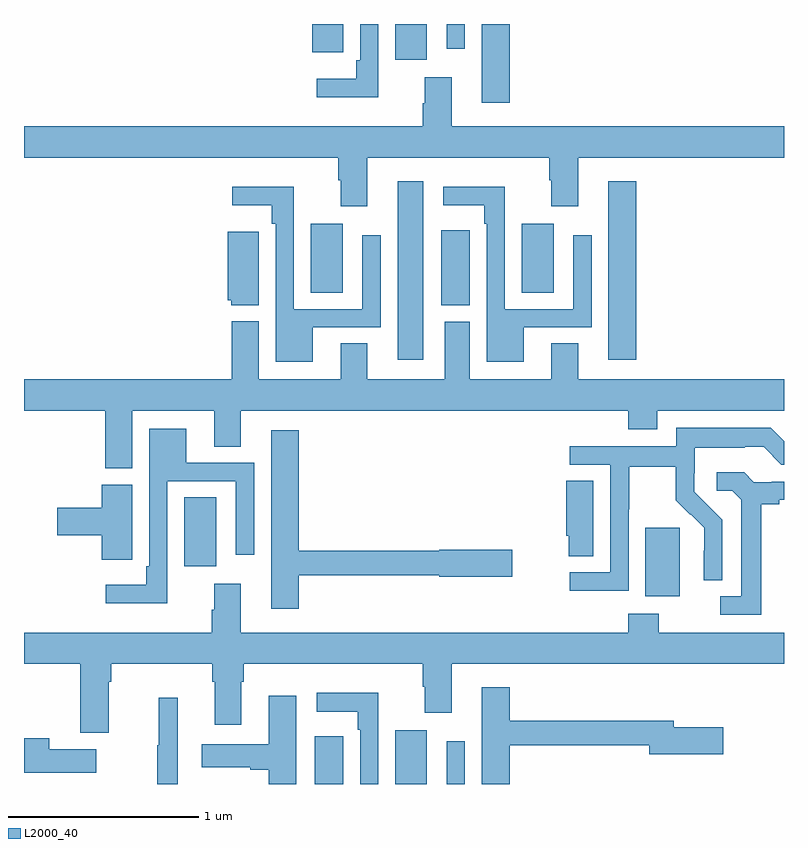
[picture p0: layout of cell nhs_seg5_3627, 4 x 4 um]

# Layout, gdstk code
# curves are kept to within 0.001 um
import gdstk
lib = gdstk.Library(unit=1e-6, precision=1e-09)
def R(c, l, rs):  # rectangles x0, y0, x1, y1
    for r in rs: c.add(gdstk.rectangle(r[:2], r[2:], *l))
def P(c, l, *ps):  # polygons
    for p in ps: c.add(gdstk.Polygon(p, *l))
L2000_40 = (2000, 40)

nhs_seg5_3627 = lib.new_cell('nhs_seg5_3627')
R(nhs_seg5_3627, L2000_40, [(326.531,850.799,326.68,851.05), (326.954,850.799,327.121,851.083), (327.225,850.799,327.321,851.023), (328.271,851.786,328.45,852.147), (325.844,851.946,326.011,852.308), (326.966,853.032,327.1,853.972), (328.076,853.032,328.223,853.972), (327.197,853.318,327.346,853.714), (326.51,853.384,326.677,853.747), (327.62,853.384,327.787,853.747), (327.41,854.385,327.557,854.799), (326.954,854.61,327.121,854.799), (326.516,854.651,326.68,854.799), (327.225,854.67,327.321,854.799)])
P(nhs_seg5_3627, L2000_40, [(326.865,854.799),(326.769,854.799),(326.769,854.608),(326.749,854.608),(326.749,854.512),(326.541,854.512),(326.541,854.414),(326.865,854.414)],
  [(326.806,854.096),(327.764,854.096),(327.764,853.976),(327.776,853.976),(327.776,853.839),(327.916,853.839),(327.916,854.096),(329,854.096),(329,854.26),(327.25,854.26),(327.25,854.518),(327.11,854.518),(327.11,854.381),(327.098,854.381),(327.098,854.26),(325,854.26),(325,854.096),(326.654,854.096),(326.654,853.976),(326.666,853.976),(326.666,853.839),(326.806,853.839)],
  [(327.631,853.203),(327.987,853.203),(327.987,853.687),(327.891,853.687),(327.891,853.299),(327.531,853.299),(327.531,853.942),(327.207,853.942),(327.207,853.844),(327.423,853.844),(327.423,853.748),(327.435,853.748),(327.435,853.022),(327.631,853.022)],
  [(326.521,853.203),(326.877,853.203),(326.877,853.687),(326.781,853.687),(326.781,853.299),(326.421,853.299),(326.421,853.942),(326.097,853.942),(326.097,853.844),(326.305,853.844),(326.305,853.748),(326.325,853.748),(326.325,853.022),(326.521,853.022)],
  [(326.236,853.705),(326.072,853.705),(326.072,853.344),(326.091,853.344),(326.091,853.319),(326.236,853.319)],
  [(325.57,852.764),(326,852.764),(326,852.574),(326.14,852.574),(326.14,852.764),(328.181,852.764),(328.181,852.665),(328.333,852.665),(328.333,852.764),(329,852.764),(329,852.928),(327.916,852.928),(327.916,853.118),(327.776,853.118),(327.776,852.928),(327.346,852.928),(327.346,853.233),(327.215,853.233),(327.215,852.928),(326.806,852.928),(326.806,853.118),(326.666,853.118),(326.666,852.928),(326.236,852.928),(326.236,853.234),(326.093,853.234),(326.093,852.928),(325,852.928),(325,852.764),(325.427,852.764),(325.427,852.46),(325.57,852.46)],
  [(328.182,852.244),(328.185,852.244),(328.185,852.468),(328.429,852.468),(328.429,852.293),(328.506,852.216),(328.509,852.219),(328.58,852.149),(328.58,852.026),(328.578,852.026),(328.578,851.872),(328.674,851.872),(328.674,852.19),(328.528,852.338),(328.528,852.435),(328.53,852.435),(328.53,852.569),(328.793,852.569),(328.793,852.573),(328.893,852.573),(328.986,852.48),(329,852.48),(329,852.604),(328.931,852.673),(328.434,852.673),(328.434,852.576),(327.873,852.576),(327.873,852.48),(328.086,852.48),(328.086,851.913),(327.873,851.913),(327.873,851.815),(328.182,851.815)],
  [(325.755,852.393),(326.115,852.393),(326.115,852.006),(326.211,852.006),(326.211,852.489),(325.855,852.489),(325.855,852.67),(325.659,852.67),(325.659,851.944),(325.643,851.944),(325.643,851.848),(325.431,851.848),(325.431,851.75),(325.755,851.75)],
  [(326.447,851.898),(327.186,851.898),(327.186,851.89),(327.571,851.89),(327.571,852.032),(327.186,852.032),(327.186,852.026),(326.447,852.026),(326.447,852.661),(326.3,852.661),(326.3,851.721),(326.447,851.721)],
  [(328.879,852.272),(328.975,852.272),(328.975,852.294),(329,852.294),(329,852.39),(328.936,852.39),(328.936,852.387),(328.842,852.387),(328.79,852.439),(328.647,852.439),(328.647,852.342),(328.728,852.342),(328.775,852.295),(328.775,851.787),(328.665,851.787),(328.665,851.691),(328.879,851.691)],
  [(327.997,852.395),(327.854,852.395),(327.854,852.106),(327.866,852.106),(327.866,851.998),(327.997,851.998)],
  [(325.569,852.091),(325.57,852.091),(325.57,852.375),(325.409,852.375),(325.409,852.254),(325.176,852.254),(325.176,852.107),(325.409,852.107),(325.409,851.979),(325.569,851.979)],
  [(325.447,851.336),(325.46,851.336),(325.46,851.432),(325.991,851.432),(325.991,851.336),(326.003,851.336),(326.003,851.112),(326.143,851.112),(326.143,851.336),(326.156,851.336),(326.156,851.432),(327.098,851.432),(327.098,851.312),(327.11,851.312),(327.11,851.175),(327.25,851.175),(327.25,851.432),(329,851.432),(329,851.596),(328.341,851.596),(328.341,851.695),(328.181,851.695),(328.181,851.596),(326.14,851.596),(326.14,851.854),(326,851.854),(326,851.717),(325.988,851.717),(325.988,851.596),(325,851.596),(325,851.432),(325.295,851.432),(325.295,851.07),(325.447,851.07)],
  [(327.557,851.002),(328.292,851.002),(328.292,850.955),(328.681,850.955),(328.681,851.097),(328.42,851.097),(328.42,851.131),(327.557,851.131),(327.557,851.308),(327.41,851.308),(327.41,850.799),(327.557,850.799)],
  [(326.865,851.278),(326.541,851.278),(326.541,851.18),(326.757,851.18),(326.757,851.084),(326.769,851.084),(326.769,850.799),(326.865,850.799)],
  [(326.434,851.263),(326.288,851.263),(326.288,851.008),(325.935,851.008),(325.935,850.886),(326.192,850.886),(326.192,850.874),(326.288,850.874),(326.288,850.799),(326.434,850.799)],
  [(325.809,851.254),(325.708,851.254),(325.708,851.004),(325.701,851.004),(325.701,850.799),(325.809,850.799)],
  [(325.381,850.981),(325.133,850.981),(325.133,851.041),(325,851.041),(325,850.859),(325.381,850.859)])

lib.write_gds('nhs_seg5_3627.gds')
